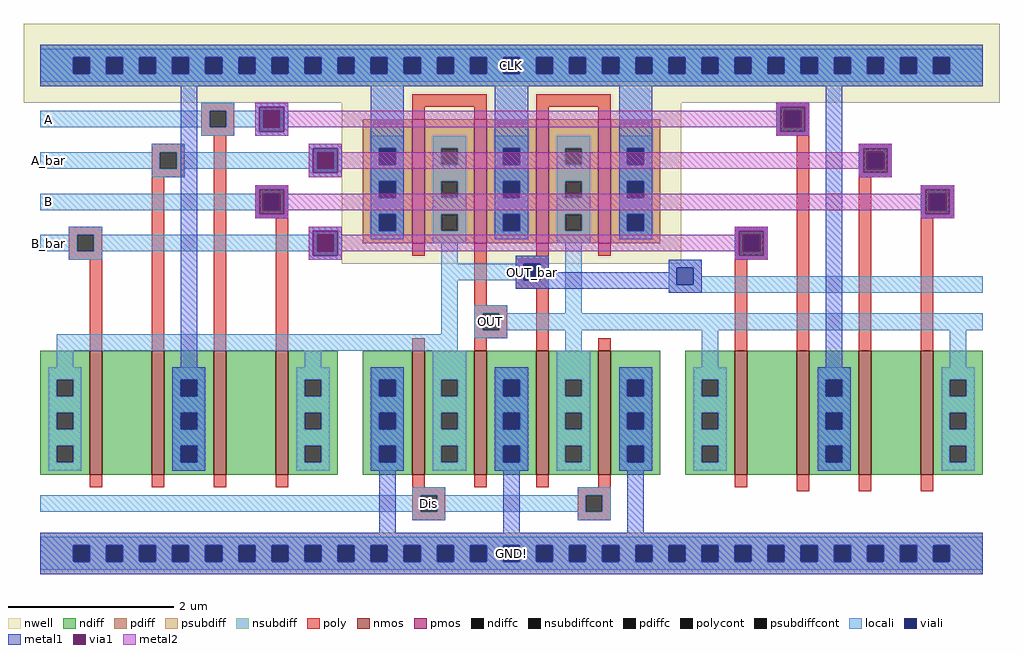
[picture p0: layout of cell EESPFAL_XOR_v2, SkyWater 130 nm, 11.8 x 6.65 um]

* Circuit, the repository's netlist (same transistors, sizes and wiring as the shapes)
* NGSPICE file created from EESPFAL_XOR_v2.ext - technology: sky130A

.subckt EESPFAL_XOR_v2 A A_bar B B_bar OUT OUT_bar Dis GND CLK
X0 a_n380_770# A_bar CLK GND sky130_fd_pr__nfet_01v8 ad=9e+11p pd=4.2e+06u as=7.5e+12p ps=3.22e+07u w=1.5e+06u l=150000u
X1 CLK OUT OUT_bar CLK sky130_fd_pr__pfet_01v8 ad=2.7e+12p pd=1.26e+07u as=9e+11p ps=4.2e+06u w=1.5e+06u l=150000u M=2
X2 OUT OUT_bar CLK CLK sky130_fd_pr__pfet_01v8 ad=9e+11p pd=4.2e+06u as=0p ps=0u w=1.5e+06u l=150000u M=2
X3 a_n680_770# B_bar OUT GND sky130_fd_pr__nfet_01v8 ad=9e+11p pd=4.2e+06u as=2.7e+12p ps=1.26e+07u w=1.5e+06u l=150000u
X4 CLK A_bar a_n2240_770# GND sky130_fd_pr__nfet_01v8 ad=0p pd=0u as=9e+11p ps=4.2e+06u w=1.5e+06u l=150000u
X5 OUT B a_n380_770# GND sky130_fd_pr__nfet_01v8 ad=0p pd=0u as=0p ps=0u w=1.5e+06u l=150000u
X6 GND Dis OUT GND sky130_fd_pr__nfet_01v8 ad=2.7e+12p pd=1.26e+07u as=0p ps=0u w=1.5e+06u l=150000u
X7 CLK A a_n680_770# GND sky130_fd_pr__nfet_01v8 ad=0p pd=0u as=0p ps=0u w=1.5e+06u l=150000u
X8 OUT_bar B a_n1940_770# GND sky130_fd_pr__nfet_01v8 ad=2.7e+12p pd=1.26e+07u as=9e+11p ps=4.2e+06u w=1.5e+06u l=150000u
X9 GND OUT OUT_bar GND sky130_fd_pr__nfet_01v8 ad=0p pd=0u as=0p ps=0u w=1.5e+06u l=150000u
X10 a_n2240_770# B_bar OUT_bar GND sky130_fd_pr__nfet_01v8 ad=0p pd=0u as=0p ps=0u w=1.5e+06u l=150000u
X11 OUT OUT_bar GND GND sky130_fd_pr__nfet_01v8 ad=0p pd=0u as=0p ps=0u w=1.5e+06u l=150000u
X12 OUT_bar Dis GND GND sky130_fd_pr__nfet_01v8 ad=0p pd=0u as=0p ps=0u w=1.5e+06u l=150000u
X13 a_n1940_770# A CLK GND sky130_fd_pr__nfet_01v8 ad=0p pd=0u as=0p ps=0u w=1.5e+06u l=150000u
.ends

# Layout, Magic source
magic
tech sky130A
<< nwell >>
rect -1215 835 -35 930
rect -830 640 -420 835
<< nmos >>
rect -1135 385 -1120 535
rect -1060 385 -1045 535
rect -985 385 -970 535
rect -910 385 -895 535
rect -745 385 -730 535
rect -670 385 -655 535
rect -595 385 -580 535
rect -520 385 -505 535
rect -355 385 -340 535
rect -280 385 -265 535
rect -205 385 -190 535
rect -130 385 -115 535
<< pmos >>
rect -745 665 -730 815
rect -670 665 -655 815
rect -595 665 -580 815
rect -520 665 -505 815
<< ndiff >>
rect -1195 500 -1135 535
rect -1195 480 -1175 500
rect -1155 480 -1135 500
rect -1195 460 -1135 480
rect -1195 440 -1175 460
rect -1155 440 -1135 460
rect -1195 420 -1135 440
rect -1195 400 -1175 420
rect -1155 400 -1135 420
rect -1195 385 -1135 400
rect -1120 385 -1060 535
rect -1045 500 -985 535
rect -1045 480 -1025 500
rect -1005 480 -985 500
rect -1045 460 -985 480
rect -1045 440 -1025 460
rect -1005 440 -985 460
rect -1045 420 -985 440
rect -1045 400 -1025 420
rect -1005 400 -985 420
rect -1045 385 -985 400
rect -970 385 -910 535
rect -895 500 -835 535
rect -895 480 -875 500
rect -855 480 -835 500
rect -895 460 -835 480
rect -895 440 -875 460
rect -855 440 -835 460
rect -895 420 -835 440
rect -895 400 -875 420
rect -855 400 -835 420
rect -895 385 -835 400
rect -805 500 -745 535
rect -805 480 -785 500
rect -765 480 -745 500
rect -805 460 -745 480
rect -805 440 -785 460
rect -765 440 -745 460
rect -805 420 -745 440
rect -805 400 -785 420
rect -765 400 -745 420
rect -805 385 -745 400
rect -730 500 -670 535
rect -730 480 -710 500
rect -690 480 -670 500
rect -730 460 -670 480
rect -730 440 -710 460
rect -690 440 -670 460
rect -730 420 -670 440
rect -730 400 -710 420
rect -690 400 -670 420
rect -730 385 -670 400
rect -655 500 -595 535
rect -655 480 -635 500
rect -615 480 -595 500
rect -655 460 -595 480
rect -655 440 -635 460
rect -615 440 -595 460
rect -655 420 -595 440
rect -655 400 -635 420
rect -615 400 -595 420
rect -655 385 -595 400
rect -580 500 -520 535
rect -580 480 -560 500
rect -540 480 -520 500
rect -580 460 -520 480
rect -580 440 -560 460
rect -540 440 -520 460
rect -580 420 -520 440
rect -580 400 -560 420
rect -540 400 -520 420
rect -580 385 -520 400
rect -505 500 -445 535
rect -505 480 -485 500
rect -465 480 -445 500
rect -505 460 -445 480
rect -505 440 -485 460
rect -465 440 -445 460
rect -505 420 -445 440
rect -505 400 -485 420
rect -465 400 -445 420
rect -505 385 -445 400
rect -415 500 -355 535
rect -415 480 -395 500
rect -375 480 -355 500
rect -415 460 -355 480
rect -415 440 -395 460
rect -375 440 -355 460
rect -415 420 -355 440
rect -415 400 -395 420
rect -375 400 -355 420
rect -415 385 -355 400
rect -340 385 -280 535
rect -265 500 -205 535
rect -265 480 -245 500
rect -225 480 -205 500
rect -265 460 -205 480
rect -265 440 -245 460
rect -225 440 -205 460
rect -265 420 -205 440
rect -265 400 -245 420
rect -225 400 -205 420
rect -265 385 -205 400
rect -190 385 -130 535
rect -115 500 -55 535
rect -115 480 -95 500
rect -75 480 -55 500
rect -115 460 -55 480
rect -115 440 -95 460
rect -75 440 -55 460
rect -115 420 -55 440
rect -115 400 -95 420
rect -75 400 -55 420
rect -115 385 -55 400
<< pdiff >>
rect -805 780 -745 815
rect -805 760 -785 780
rect -765 760 -745 780
rect -805 740 -745 760
rect -805 720 -785 740
rect -765 720 -745 740
rect -805 700 -745 720
rect -805 680 -785 700
rect -765 680 -745 700
rect -805 665 -745 680
rect -730 780 -670 815
rect -730 760 -710 780
rect -690 760 -670 780
rect -730 740 -670 760
rect -730 720 -710 740
rect -690 720 -670 740
rect -730 700 -670 720
rect -730 680 -710 700
rect -690 680 -670 700
rect -730 665 -670 680
rect -655 780 -595 815
rect -655 760 -635 780
rect -615 760 -595 780
rect -655 740 -595 760
rect -655 720 -635 740
rect -615 720 -595 740
rect -655 700 -595 720
rect -655 680 -635 700
rect -615 680 -595 700
rect -655 665 -595 680
rect -580 780 -520 815
rect -580 760 -560 780
rect -540 760 -520 780
rect -580 740 -520 760
rect -580 720 -560 740
rect -540 720 -520 740
rect -580 700 -520 720
rect -580 680 -560 700
rect -540 680 -520 700
rect -580 665 -520 680
rect -505 780 -445 815
rect -505 760 -485 780
rect -465 760 -445 780
rect -505 740 -445 760
rect -505 720 -485 740
rect -465 720 -445 740
rect -505 700 -445 720
rect -505 680 -485 700
rect -465 680 -445 700
rect -505 665 -445 680
<< ndiffc >>
rect -1175 480 -1155 500
rect -1175 440 -1155 460
rect -1175 400 -1155 420
rect -1025 480 -1005 500
rect -1025 440 -1005 460
rect -1025 400 -1005 420
rect -875 480 -855 500
rect -875 440 -855 460
rect -875 400 -855 420
rect -785 480 -765 500
rect -785 440 -765 460
rect -785 400 -765 420
rect -710 480 -690 500
rect -710 440 -690 460
rect -710 400 -690 420
rect -635 480 -615 500
rect -635 440 -615 460
rect -635 400 -615 420
rect -560 480 -540 500
rect -560 440 -540 460
rect -560 400 -540 420
rect -485 480 -465 500
rect -485 440 -465 460
rect -485 400 -465 420
rect -395 480 -375 500
rect -395 440 -375 460
rect -395 400 -375 420
rect -245 480 -225 500
rect -245 440 -225 460
rect -245 400 -225 420
rect -95 480 -75 500
rect -95 440 -75 460
rect -95 400 -75 420
<< pdiffc >>
rect -785 760 -765 780
rect -785 720 -765 740
rect -785 680 -765 700
rect -710 760 -690 780
rect -710 720 -690 740
rect -710 680 -690 700
rect -635 760 -615 780
rect -635 720 -615 740
rect -635 680 -615 700
rect -560 760 -540 780
rect -560 720 -540 740
rect -560 680 -540 700
rect -485 760 -465 780
rect -485 720 -465 740
rect -485 680 -465 700
<< psubdiff >>
rect -1195 300 -55 315
rect -1195 280 -1155 300
rect -1135 280 -1115 300
rect -1095 280 -1075 300
rect -1055 280 -1035 300
rect -1015 280 -995 300
rect -975 280 -955 300
rect -935 280 -915 300
rect -895 280 -875 300
rect -855 280 -835 300
rect -815 280 -795 300
rect -775 280 -755 300
rect -735 280 -715 300
rect -695 280 -675 300
rect -655 280 -635 300
rect -615 280 -595 300
rect -575 280 -555 300
rect -535 280 -515 300
rect -495 280 -475 300
rect -455 280 -435 300
rect -415 280 -395 300
rect -375 280 -355 300
rect -335 280 -315 300
rect -295 280 -275 300
rect -255 280 -235 300
rect -215 280 -195 300
rect -175 280 -155 300
rect -135 280 -115 300
rect -95 280 -55 300
rect -1195 265 -55 280
<< nsubdiff >>
rect -1195 890 -55 905
rect -1195 870 -1155 890
rect -1135 870 -1115 890
rect -1095 870 -1075 890
rect -1055 870 -1035 890
rect -1015 870 -995 890
rect -975 870 -955 890
rect -935 870 -915 890
rect -895 870 -875 890
rect -855 870 -835 890
rect -815 870 -795 890
rect -775 870 -755 890
rect -735 870 -715 890
rect -695 870 -675 890
rect -655 870 -635 890
rect -615 870 -595 890
rect -575 870 -555 890
rect -535 870 -515 890
rect -495 870 -475 890
rect -455 870 -435 890
rect -415 870 -395 890
rect -375 870 -355 890
rect -335 870 -315 890
rect -295 870 -275 890
rect -255 870 -235 890
rect -215 870 -195 890
rect -175 870 -155 890
rect -135 870 -115 890
rect -95 870 -55 890
rect -1195 855 -55 870
<< psubdiffcont >>
rect -1155 280 -1135 300
rect -1115 280 -1095 300
rect -1075 280 -1055 300
rect -1035 280 -1015 300
rect -995 280 -975 300
rect -955 280 -935 300
rect -915 280 -895 300
rect -875 280 -855 300
rect -835 280 -815 300
rect -795 280 -775 300
rect -755 280 -735 300
rect -715 280 -695 300
rect -675 280 -655 300
rect -635 280 -615 300
rect -595 280 -575 300
rect -555 280 -535 300
rect -515 280 -495 300
rect -475 280 -455 300
rect -435 280 -415 300
rect -395 280 -375 300
rect -355 280 -335 300
rect -315 280 -295 300
rect -275 280 -255 300
rect -235 280 -215 300
rect -195 280 -175 300
rect -155 280 -135 300
rect -115 280 -95 300
<< nsubdiffcont >>
rect -1155 870 -1135 890
rect -1115 870 -1095 890
rect -1075 870 -1055 890
rect -1035 870 -1015 890
rect -995 870 -975 890
rect -955 870 -935 890
rect -915 870 -895 890
rect -875 870 -855 890
rect -835 870 -815 890
rect -795 870 -775 890
rect -755 870 -735 890
rect -715 870 -695 890
rect -675 870 -655 890
rect -635 870 -615 890
rect -595 870 -575 890
rect -555 870 -535 890
rect -515 870 -495 890
rect -475 870 -455 890
rect -435 870 -415 890
rect -395 870 -375 890
rect -355 870 -335 890
rect -315 870 -295 890
rect -275 870 -255 890
rect -235 870 -215 890
rect -195 870 -175 890
rect -155 870 -135 890
rect -115 870 -95 890
<< poly >>
rect -1000 825 -960 835
rect -1000 805 -990 825
rect -970 805 -960 825
rect -745 830 -655 845
rect -745 815 -730 830
rect -670 815 -655 830
rect -595 830 -505 845
rect -595 815 -580 830
rect -520 815 -505 830
rect -305 825 -265 835
rect -1000 795 -960 805
rect -1060 775 -1020 785
rect -1060 755 -1050 775
rect -1030 755 -1020 775
rect -1060 745 -1020 755
rect -1160 675 -1120 685
rect -1160 655 -1150 675
rect -1130 655 -1120 675
rect -1160 645 -1120 655
rect -1135 535 -1120 645
rect -1060 535 -1045 745
rect -985 535 -970 795
rect -935 725 -895 735
rect -935 705 -925 725
rect -905 705 -895 725
rect -935 695 -895 705
rect -910 535 -895 695
rect -305 805 -295 825
rect -275 805 -265 825
rect -305 795 -265 805
rect -355 675 -315 685
rect -745 650 -730 665
rect -670 590 -655 665
rect -595 650 -580 665
rect -520 650 -505 665
rect -355 655 -345 675
rect -325 655 -315 675
rect -620 640 -580 650
rect -620 620 -610 640
rect -590 620 -580 640
rect -620 610 -580 620
rect -670 580 -630 590
rect -670 560 -660 580
rect -640 560 -630 580
rect -670 550 -630 560
rect -745 535 -730 550
rect -670 535 -655 550
rect -595 535 -580 610
rect -355 645 -315 655
rect -520 535 -505 550
rect -355 535 -340 645
rect -280 535 -265 795
rect -205 775 -165 785
rect -205 755 -195 775
rect -175 755 -165 775
rect -205 745 -165 755
rect -205 535 -190 745
rect -130 725 -90 735
rect -130 705 -120 725
rect -100 705 -90 725
rect -130 695 -90 705
rect -130 535 -115 695
rect -1135 370 -1120 385
rect -1060 370 -1045 385
rect -985 370 -970 385
rect -910 370 -895 385
rect -745 370 -730 385
rect -670 370 -655 385
rect -595 370 -580 385
rect -520 370 -505 385
rect -355 370 -340 385
rect -745 360 -705 370
rect -745 340 -735 360
rect -715 340 -705 360
rect -745 330 -705 340
rect -545 360 -505 370
rect -280 365 -265 385
rect -205 365 -190 385
rect -130 365 -115 385
rect -545 340 -535 360
rect -515 340 -505 360
rect -545 330 -505 340
<< polycont >>
rect -990 805 -970 825
rect -1050 755 -1030 775
rect -1150 655 -1130 675
rect -925 705 -905 725
rect -295 805 -275 825
rect -345 655 -325 675
rect -610 620 -590 640
rect -660 560 -640 580
rect -195 755 -175 775
rect -120 705 -100 725
rect -735 340 -715 360
rect -535 340 -515 360
<< locali >>
rect -1195 890 -55 900
rect -1195 870 -1155 890
rect -1135 870 -1115 890
rect -1095 870 -1075 890
rect -1055 870 -1035 890
rect -1015 870 -995 890
rect -975 870 -955 890
rect -935 870 -915 890
rect -895 870 -875 890
rect -855 870 -835 890
rect -815 870 -795 890
rect -775 870 -755 890
rect -735 870 -715 890
rect -695 870 -675 890
rect -655 870 -635 890
rect -615 870 -595 890
rect -575 870 -555 890
rect -535 870 -515 890
rect -495 870 -475 890
rect -455 870 -435 890
rect -415 870 -395 890
rect -375 870 -355 890
rect -335 870 -315 890
rect -295 870 -275 890
rect -255 870 -235 890
rect -215 870 -195 890
rect -175 870 -155 890
rect -135 870 -115 890
rect -95 870 -55 890
rect -1195 860 -55 870
rect -1000 825 -960 835
rect -935 825 -895 835
rect -1195 805 -990 825
rect -970 805 -925 825
rect -905 805 -895 825
rect -1000 795 -960 805
rect -935 795 -895 805
rect -305 825 -265 835
rect -305 805 -295 825
rect -275 805 -265 825
rect -305 795 -265 805
rect -1060 775 -1020 785
rect -870 775 -830 785
rect -1195 755 -1050 775
rect -1030 755 -860 775
rect -840 755 -830 775
rect -1060 745 -1020 755
rect -870 745 -830 755
rect -795 780 -755 795
rect -795 760 -785 780
rect -765 760 -755 780
rect -795 740 -755 760
rect -935 725 -895 735
rect -1195 705 -925 725
rect -905 705 -895 725
rect -935 695 -895 705
rect -795 720 -785 740
rect -765 720 -755 740
rect -795 700 -755 720
rect -1160 675 -1120 685
rect -870 675 -830 685
rect -1195 655 -1150 675
rect -1130 655 -860 675
rect -840 655 -830 675
rect -795 680 -785 700
rect -765 680 -755 700
rect -795 670 -755 680
rect -720 780 -680 795
rect -720 760 -710 780
rect -690 760 -680 780
rect -720 740 -680 760
rect -720 720 -710 740
rect -690 720 -680 740
rect -720 700 -680 720
rect -720 680 -710 700
rect -690 680 -680 700
rect -720 665 -680 680
rect -645 780 -605 795
rect -645 760 -635 780
rect -615 760 -605 780
rect -645 740 -605 760
rect -645 720 -635 740
rect -615 720 -605 740
rect -645 700 -605 720
rect -645 680 -635 700
rect -615 680 -605 700
rect -645 670 -605 680
rect -570 780 -530 795
rect -570 760 -560 780
rect -540 760 -530 780
rect -570 740 -530 760
rect -570 720 -560 740
rect -540 720 -530 740
rect -570 700 -530 720
rect -570 680 -560 700
rect -540 680 -530 700
rect -570 665 -530 680
rect -495 780 -455 795
rect -495 760 -485 780
rect -465 760 -455 780
rect -495 740 -455 760
rect -205 775 -165 785
rect -205 755 -195 775
rect -175 755 -165 775
rect -205 745 -165 755
rect -495 720 -485 740
rect -465 720 -455 740
rect -495 700 -455 720
rect -495 680 -485 700
rect -465 680 -455 700
rect -130 725 -90 735
rect -130 705 -120 725
rect -100 705 -90 725
rect -130 695 -90 705
rect -495 670 -455 680
rect -355 675 -315 685
rect -1160 645 -1120 655
rect -870 645 -830 655
rect -710 640 -690 665
rect -620 640 -580 650
rect -710 620 -610 640
rect -590 620 -580 640
rect -710 555 -690 620
rect -620 610 -580 620
rect -1175 535 -690 555
rect -670 580 -630 590
rect -560 580 -540 665
rect -355 655 -345 675
rect -325 655 -315 675
rect -355 645 -315 655
rect -435 635 -395 645
rect -435 615 -425 635
rect -405 625 -395 635
rect -405 615 -55 625
rect -435 605 -55 615
rect -670 560 -660 580
rect -640 560 -55 580
rect -670 550 -630 560
rect -560 535 -540 560
rect -1175 515 -1155 535
rect -875 515 -855 535
rect -1185 500 -1145 515
rect -1185 480 -1175 500
rect -1155 480 -1145 500
rect -1185 460 -1145 480
rect -1185 440 -1175 460
rect -1155 440 -1145 460
rect -1185 420 -1145 440
rect -1185 400 -1175 420
rect -1155 400 -1145 420
rect -1185 390 -1145 400
rect -1035 500 -995 515
rect -1035 480 -1025 500
rect -1005 480 -995 500
rect -1035 460 -995 480
rect -1035 440 -1025 460
rect -1005 440 -995 460
rect -1035 420 -995 440
rect -1035 400 -1025 420
rect -1005 400 -995 420
rect -1035 390 -995 400
rect -885 500 -845 515
rect -885 480 -875 500
rect -855 480 -845 500
rect -885 460 -845 480
rect -885 440 -875 460
rect -855 440 -845 460
rect -885 420 -845 440
rect -885 400 -875 420
rect -855 400 -845 420
rect -885 390 -845 400
rect -795 500 -755 515
rect -795 480 -785 500
rect -765 480 -755 500
rect -795 460 -755 480
rect -795 440 -785 460
rect -765 440 -755 460
rect -795 420 -755 440
rect -795 400 -785 420
rect -765 400 -755 420
rect -795 390 -755 400
rect -720 500 -680 535
rect -720 480 -710 500
rect -690 480 -680 500
rect -720 460 -680 480
rect -720 440 -710 460
rect -690 440 -680 460
rect -720 420 -680 440
rect -720 400 -710 420
rect -690 400 -680 420
rect -720 390 -680 400
rect -645 500 -605 515
rect -645 480 -635 500
rect -615 480 -605 500
rect -645 460 -605 480
rect -645 440 -635 460
rect -615 440 -605 460
rect -645 420 -605 440
rect -645 400 -635 420
rect -615 400 -605 420
rect -645 390 -605 400
rect -570 500 -530 535
rect -395 515 -375 560
rect -95 515 -75 560
rect -570 480 -560 500
rect -540 480 -530 500
rect -570 460 -530 480
rect -570 440 -560 460
rect -540 440 -530 460
rect -570 420 -530 440
rect -570 400 -560 420
rect -540 400 -530 420
rect -570 390 -530 400
rect -495 500 -455 515
rect -495 480 -485 500
rect -465 480 -455 500
rect -495 460 -455 480
rect -495 440 -485 460
rect -465 440 -455 460
rect -495 420 -455 440
rect -495 400 -485 420
rect -465 400 -455 420
rect -495 390 -455 400
rect -405 500 -365 515
rect -405 480 -395 500
rect -375 480 -365 500
rect -405 460 -365 480
rect -405 440 -395 460
rect -375 440 -365 460
rect -405 420 -365 440
rect -405 400 -395 420
rect -375 400 -365 420
rect -405 390 -365 400
rect -255 500 -215 515
rect -255 480 -245 500
rect -225 480 -215 500
rect -255 460 -215 480
rect -255 440 -245 460
rect -225 440 -215 460
rect -255 420 -215 440
rect -255 400 -245 420
rect -225 400 -215 420
rect -255 390 -215 400
rect -105 500 -65 515
rect -105 480 -95 500
rect -75 480 -65 500
rect -105 460 -65 480
rect -105 440 -95 460
rect -75 440 -65 460
rect -105 420 -65 440
rect -105 400 -95 420
rect -75 400 -65 420
rect -105 390 -65 400
rect -745 360 -705 370
rect -545 360 -505 370
rect -1195 340 -735 360
rect -715 340 -535 360
rect -515 340 -505 360
rect -745 330 -705 340
rect -545 330 -505 340
rect -1195 300 -55 310
rect -1195 280 -1155 300
rect -1135 280 -1115 300
rect -1095 280 -1075 300
rect -1055 280 -1035 300
rect -1015 280 -995 300
rect -975 280 -955 300
rect -935 280 -915 300
rect -895 280 -875 300
rect -855 280 -835 300
rect -815 280 -795 300
rect -775 280 -755 300
rect -735 280 -715 300
rect -695 280 -675 300
rect -655 280 -635 300
rect -615 280 -595 300
rect -575 280 -555 300
rect -535 280 -515 300
rect -495 280 -475 300
rect -455 280 -435 300
rect -415 280 -395 300
rect -375 280 -355 300
rect -335 280 -315 300
rect -295 280 -275 300
rect -255 280 -235 300
rect -215 280 -195 300
rect -175 280 -155 300
rect -135 280 -115 300
rect -95 280 -55 300
rect -1195 270 -55 280
<< viali >>
rect -1155 870 -1135 890
rect -1115 870 -1095 890
rect -1075 870 -1055 890
rect -1035 870 -1015 890
rect -995 870 -975 890
rect -955 870 -935 890
rect -915 870 -895 890
rect -875 870 -855 890
rect -835 870 -815 890
rect -795 870 -775 890
rect -755 870 -735 890
rect -715 870 -695 890
rect -675 870 -655 890
rect -635 870 -615 890
rect -595 870 -575 890
rect -555 870 -535 890
rect -515 870 -495 890
rect -475 870 -455 890
rect -435 870 -415 890
rect -395 870 -375 890
rect -355 870 -335 890
rect -315 870 -295 890
rect -275 870 -255 890
rect -235 870 -215 890
rect -195 870 -175 890
rect -155 870 -135 890
rect -115 870 -95 890
rect -925 805 -905 825
rect -295 805 -275 825
rect -860 755 -840 775
rect -785 760 -765 780
rect -925 705 -905 725
rect -785 720 -765 740
rect -860 655 -840 675
rect -785 680 -765 700
rect -635 760 -615 780
rect -635 720 -615 740
rect -635 680 -615 700
rect -485 760 -465 780
rect -195 755 -175 775
rect -485 720 -465 740
rect -485 680 -465 700
rect -120 705 -100 725
rect -610 620 -590 640
rect -345 655 -325 675
rect -425 615 -405 635
rect -1025 480 -1005 500
rect -1025 440 -1005 460
rect -1025 400 -1005 420
rect -785 480 -765 500
rect -785 440 -765 460
rect -785 400 -765 420
rect -635 480 -615 500
rect -635 440 -615 460
rect -635 400 -615 420
rect -485 480 -465 500
rect -485 440 -465 460
rect -485 400 -465 420
rect -245 480 -225 500
rect -245 440 -225 460
rect -245 400 -225 420
rect -1155 280 -1135 300
rect -1115 280 -1095 300
rect -1075 280 -1055 300
rect -1035 280 -1015 300
rect -995 280 -975 300
rect -955 280 -935 300
rect -915 280 -895 300
rect -875 280 -855 300
rect -835 280 -815 300
rect -795 280 -775 300
rect -755 280 -735 300
rect -715 280 -695 300
rect -675 280 -655 300
rect -635 280 -615 300
rect -595 280 -575 300
rect -555 280 -535 300
rect -515 280 -495 300
rect -475 280 -455 300
rect -435 280 -415 300
rect -395 280 -375 300
rect -355 280 -335 300
rect -315 280 -295 300
rect -275 280 -255 300
rect -235 280 -215 300
rect -195 280 -175 300
rect -155 280 -135 300
rect -115 280 -95 300
<< metal1 >>
rect -1195 890 -55 905
rect -1195 870 -1155 890
rect -1135 870 -1115 890
rect -1095 870 -1075 890
rect -1055 870 -1035 890
rect -1015 870 -995 890
rect -975 870 -955 890
rect -935 870 -915 890
rect -895 870 -875 890
rect -855 870 -835 890
rect -815 870 -795 890
rect -775 870 -755 890
rect -735 870 -715 890
rect -695 870 -675 890
rect -655 870 -635 890
rect -615 870 -595 890
rect -575 870 -555 890
rect -535 870 -515 890
rect -495 870 -475 890
rect -455 870 -435 890
rect -415 870 -395 890
rect -375 870 -355 890
rect -335 870 -315 890
rect -295 870 -275 890
rect -255 870 -235 890
rect -215 870 -195 890
rect -175 870 -155 890
rect -135 870 -115 890
rect -95 870 -55 890
rect -1195 855 -55 870
rect -1025 515 -1005 855
rect -935 830 -895 835
rect -935 800 -930 830
rect -900 800 -895 830
rect -935 795 -895 800
rect -870 780 -830 785
rect -870 750 -865 780
rect -835 750 -830 780
rect -870 745 -830 750
rect -795 780 -755 855
rect -795 760 -785 780
rect -765 760 -755 780
rect -795 740 -755 760
rect -935 730 -895 735
rect -935 700 -930 730
rect -900 700 -895 730
rect -935 695 -895 700
rect -795 720 -785 740
rect -765 720 -755 740
rect -795 700 -755 720
rect -870 680 -830 685
rect -870 650 -865 680
rect -835 650 -830 680
rect -795 680 -785 700
rect -765 680 -755 700
rect -795 670 -755 680
rect -645 780 -605 855
rect -645 760 -635 780
rect -615 760 -605 780
rect -645 740 -605 760
rect -645 720 -635 740
rect -615 720 -605 740
rect -645 700 -605 720
rect -645 680 -635 700
rect -615 680 -605 700
rect -645 670 -605 680
rect -495 780 -455 855
rect -305 830 -265 835
rect -305 800 -300 830
rect -270 800 -265 830
rect -305 795 -265 800
rect -495 760 -485 780
rect -465 760 -455 780
rect -495 740 -455 760
rect -495 720 -485 740
rect -465 720 -455 740
rect -495 700 -455 720
rect -495 680 -485 700
rect -465 680 -455 700
rect -495 670 -455 680
rect -355 680 -315 685
rect -355 650 -350 680
rect -320 650 -315 680
rect -870 645 -830 650
rect -620 640 -580 650
rect -355 645 -315 650
rect -620 620 -610 640
rect -590 630 -580 640
rect -435 635 -395 645
rect -435 630 -425 635
rect -590 620 -425 630
rect -620 615 -425 620
rect -405 615 -395 635
rect -620 610 -395 615
rect -435 605 -395 610
rect -245 515 -225 855
rect -205 780 -165 785
rect -205 750 -200 780
rect -170 750 -165 780
rect -205 745 -165 750
rect -130 730 -90 735
rect -130 700 -125 730
rect -95 700 -90 730
rect -130 695 -90 700
rect -1035 500 -995 515
rect -1035 480 -1025 500
rect -1005 480 -995 500
rect -1035 460 -995 480
rect -1035 440 -1025 460
rect -1005 440 -995 460
rect -1035 420 -995 440
rect -1035 400 -1025 420
rect -1005 400 -995 420
rect -1035 390 -995 400
rect -795 500 -755 515
rect -795 480 -785 500
rect -765 480 -755 500
rect -795 460 -755 480
rect -795 440 -785 460
rect -765 440 -755 460
rect -795 420 -755 440
rect -795 400 -785 420
rect -765 400 -755 420
rect -795 390 -755 400
rect -645 500 -605 515
rect -645 480 -635 500
rect -615 480 -605 500
rect -645 460 -605 480
rect -645 440 -635 460
rect -615 440 -605 460
rect -645 420 -605 440
rect -645 400 -635 420
rect -615 400 -605 420
rect -645 390 -605 400
rect -495 500 -455 515
rect -495 480 -485 500
rect -465 480 -455 500
rect -495 460 -455 480
rect -495 440 -485 460
rect -465 440 -455 460
rect -495 420 -455 440
rect -495 400 -485 420
rect -465 400 -455 420
rect -495 390 -455 400
rect -255 500 -215 515
rect -255 480 -245 500
rect -225 480 -215 500
rect -255 460 -215 480
rect -255 440 -245 460
rect -225 440 -215 460
rect -255 420 -215 440
rect -255 400 -245 420
rect -225 400 -215 420
rect -255 390 -215 400
rect -785 315 -765 390
rect -635 315 -615 390
rect -485 315 -465 390
rect -1195 300 -55 315
rect -1195 280 -1155 300
rect -1135 280 -1115 300
rect -1095 280 -1075 300
rect -1055 280 -1035 300
rect -1015 280 -995 300
rect -975 280 -955 300
rect -935 280 -915 300
rect -895 280 -875 300
rect -855 280 -835 300
rect -815 280 -795 300
rect -775 280 -755 300
rect -735 280 -715 300
rect -695 280 -675 300
rect -655 280 -635 300
rect -615 280 -595 300
rect -575 280 -555 300
rect -535 280 -515 300
rect -495 280 -475 300
rect -455 280 -435 300
rect -415 280 -395 300
rect -375 280 -355 300
rect -335 280 -315 300
rect -295 280 -275 300
rect -255 280 -235 300
rect -215 280 -195 300
rect -175 280 -155 300
rect -135 280 -115 300
rect -95 280 -55 300
rect -1195 265 -55 280
<< via1 >>
rect -930 825 -900 830
rect -930 805 -925 825
rect -925 805 -905 825
rect -905 805 -900 825
rect -930 800 -900 805
rect -865 775 -835 780
rect -865 755 -860 775
rect -860 755 -840 775
rect -840 755 -835 775
rect -865 750 -835 755
rect -930 725 -900 730
rect -930 705 -925 725
rect -925 705 -905 725
rect -905 705 -900 725
rect -930 700 -900 705
rect -865 675 -835 680
rect -865 655 -860 675
rect -860 655 -840 675
rect -840 655 -835 675
rect -865 650 -835 655
rect -300 825 -270 830
rect -300 805 -295 825
rect -295 805 -275 825
rect -275 805 -270 825
rect -300 800 -270 805
rect -350 675 -320 680
rect -350 655 -345 675
rect -345 655 -325 675
rect -325 655 -320 675
rect -350 650 -320 655
rect -200 775 -170 780
rect -200 755 -195 775
rect -195 755 -175 775
rect -175 755 -170 775
rect -200 750 -170 755
rect -125 725 -95 730
rect -125 705 -120 725
rect -120 705 -100 725
rect -100 705 -95 725
rect -125 700 -95 705
<< metal2 >>
rect -935 830 -895 835
rect -935 800 -930 830
rect -900 825 -895 830
rect -305 830 -265 835
rect -305 825 -300 830
rect -900 805 -300 825
rect -900 800 -895 805
rect -935 795 -895 800
rect -305 800 -300 805
rect -270 800 -265 830
rect -305 795 -265 800
rect -870 780 -830 785
rect -870 750 -865 780
rect -835 775 -830 780
rect -205 780 -165 785
rect -205 775 -200 780
rect -835 755 -200 775
rect -835 750 -830 755
rect -870 745 -830 750
rect -205 750 -200 755
rect -170 750 -165 780
rect -205 745 -165 750
rect -935 730 -895 735
rect -935 700 -930 730
rect -900 725 -895 730
rect -130 730 -90 735
rect -130 725 -125 730
rect -900 705 -125 725
rect -900 700 -895 705
rect -935 695 -895 700
rect -130 700 -125 705
rect -95 700 -90 730
rect -130 695 -90 700
rect -870 680 -830 685
rect -870 650 -865 680
rect -835 675 -830 680
rect -355 680 -315 685
rect -355 675 -350 680
rect -835 655 -350 675
rect -835 650 -830 655
rect -870 645 -830 650
rect -355 650 -350 655
rect -320 650 -315 680
rect -355 645 -315 650
<< labels >>
rlabel metal1 -635 870 -615 890 7 CLK
port 9 w
rlabel locali -1190 660 -1180 670 7 B_bar
port 4 w
rlabel locali -1190 810 -1180 820 7 A
port 1 w
rlabel locali -1190 710 -1180 720 7 B
port 3 w
rlabel locali -1190 760 -1180 770 7 A_bar
port 2 w
rlabel viali -610 620 -590 640 7 OUT_bar
port 6 w
rlabel metal1 -635 280 -615 300 7 GND!
port 8 w
rlabel locali -735 340 -715 360 7 Dis
port 7 w
rlabel locali -660 560 -640 580 7 OUT
port 5 w
<< end >>
